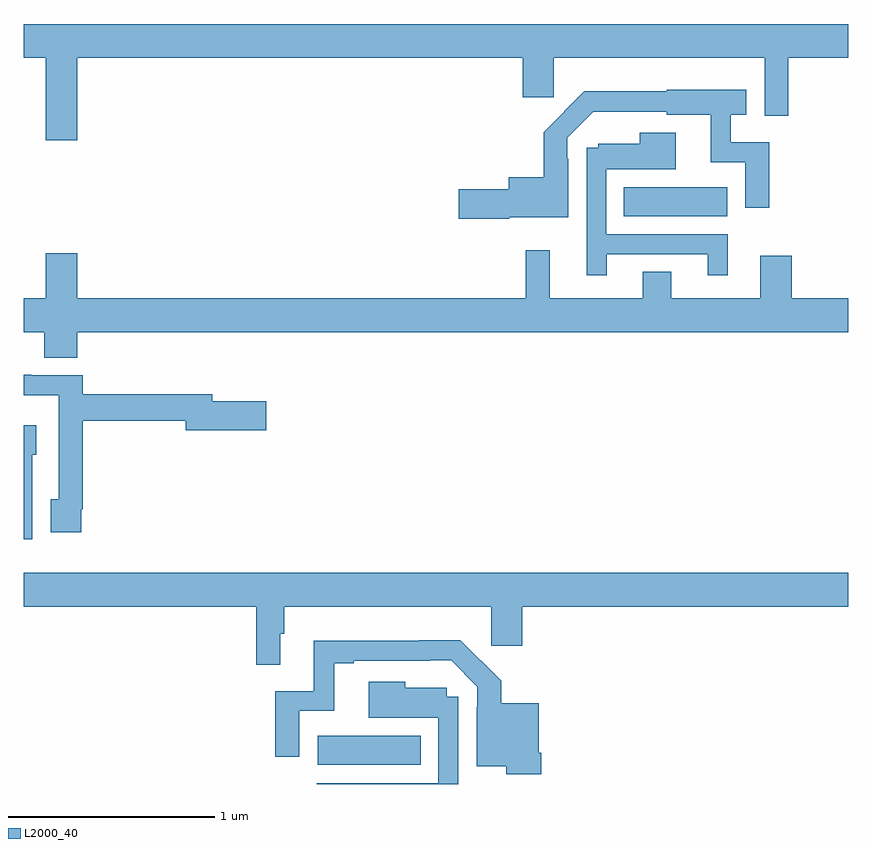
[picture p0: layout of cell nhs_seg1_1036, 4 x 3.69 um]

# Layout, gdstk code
import gdstk
lib = gdstk.Library(unit=1e-6, precision=1e-09)
def R(c, l, rs):  # rectangles x0, y0, x1, y1
    for r in rs: c.add(gdstk.rectangle(r[:2], r[2:], *l))
def P(c, l, *ps):  # polygons
    for p in ps: c.add(gdstk.Polygon(p, *l))
L2000_40 = (2000, 40)

nhs_seg1_1036 = lib.new_cell('nhs_seg1_1036')
R(nhs_seg1_1036, L2000_40, [(168.426,556.292,168.926,556.432), (169.912,558.956,170.413,559.096)])
P(nhs_seg1_1036, L2000_40, [(167,559.724),(167.105,559.724),(167.105,559.323),(167.258,559.323),(167.258,559.724),(169.421,559.724),(169.421,559.533),(169.571,559.533),(169.571,559.724),(170.595,559.724),(170.595,559.443),(170.711,559.443),(170.711,559.724),(171,559.724),(171,559.888),(167,559.888)],
  [(169.356,558.95),(169.641,558.95),(169.641,559.235),(169.638,559.235),(169.638,559.335),(169.764,559.461),(170.121,559.461),(170.121,559.448),(170.333,559.448),(170.333,559.218),(170.502,559.218),(170.502,558.996),(170.618,558.996),(170.618,559.314),(170.431,559.314),(170.431,559.448),(170.506,559.448),(170.506,559.57),(170.121,559.57),(170.121,559.561),(169.72,559.561),(169.523,559.363),(169.523,559.144),(169.352,559.144),(169.352,559.085),(169.11,559.085),(169.11,558.943),(169.356,558.943)],
  [(169.828,558.771),(170.318,558.771),(170.318,558.669),(170.416,558.669),(170.416,558.867),(169.827,558.867),(169.827,559.184),(170.164,559.184),(170.164,559.36),(169.988,559.36),(169.988,559.306),(169.788,559.306),(169.788,559.287),(169.731,559.287),(169.731,558.669),(169.828,558.669)],
  [(167.258,558.392),(171,558.392),(171,558.556),(170.726,558.556),(170.726,558.763),(170.573,558.763),(170.573,558.556),(170.143,558.556),(170.143,558.686),(170.003,558.686),(170.003,558.556),(169.553,558.556),(169.553,558.79),(169.435,558.79),(169.435,558.556),(167.258,558.556),(167.258,558.775),(167.105,558.775),(167.105,558.556),(167,558.556),(167,558.392),(167.098,558.392),(167.098,558.268),(167.258,558.268)],
  [(167.278,557.533),(167.285,557.533),(167.285,557.962),(167.786,557.962),(167.786,557.915),(168.175,557.915),(168.175,558.057),(167.914,558.057),(167.914,558.091),(167.285,558.091),(167.285,558.183),(167.035,558.183),(167.035,558.185),(167,558.185),(167,558.086),(167.169,558.086),(167.169,557.582),(167.129,557.582),(167.129,557.421),(167.278,557.421)],
  [(167.041,557.796),(167.059,557.796),(167.059,557.941),(167,557.941),(167,557.388),(167.041,557.388)],
  [(168.244,556.928),(168.263,556.928),(168.263,557.06),(169.267,557.06),(169.267,556.869),(169.418,556.869),(169.418,557.06),(171,557.06),(171,557.224),(167,557.224),(167,557.06),(168.127,557.06),(168.127,556.779),(168.244,556.779)],
  [(169.511,556.351),(169.498,556.351),(169.498,556.591),(169.316,556.591),(169.316,556.699),(169.118,556.897),(168.919,556.897),(168.919,556.894),(168.407,556.894),(168.407,556.65),(168.22,556.65),(168.22,556.332),(168.336,556.332),(168.336,556.554),(168.505,556.554),(168.505,556.785),(168.601,556.785),(168.601,556.797),(168.971,556.797),(168.971,556.799),(169.073,556.799),(169.2,556.671),(169.2,556.571),(169.197,556.571),(169.197,556.286),(169.34,556.286),(169.34,556.247),(169.511,556.247)],
  [(169.107,556.623),(169.053,556.623),(169.053,556.666),(168.85,556.666),(168.85,556.696),(168.674,556.696),(168.674,556.52),(169.011,556.52),(169.011,556.203),(168.422,556.203),(168.422,556.199),(169.107,556.199)])

lib.write_gds('nhs_seg1_1036.gds')
